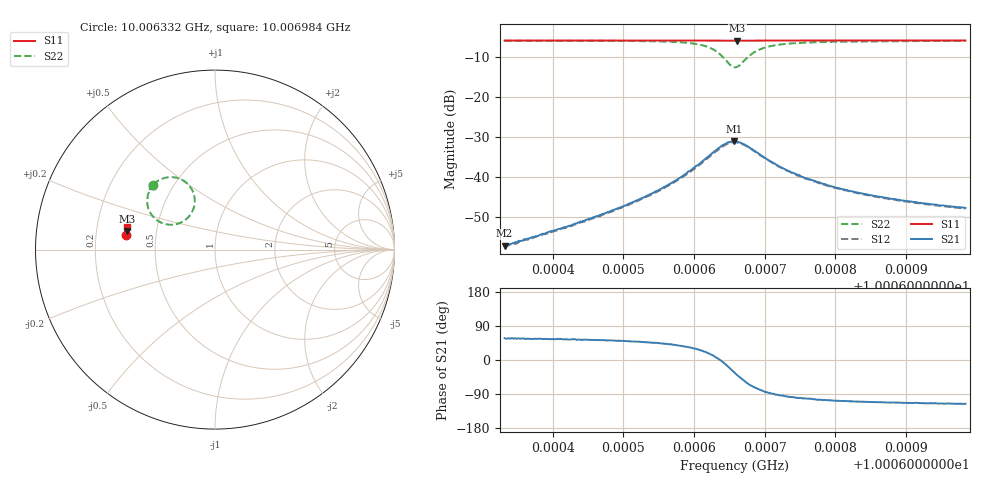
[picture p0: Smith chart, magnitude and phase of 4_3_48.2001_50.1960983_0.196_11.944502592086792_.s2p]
#  HZ  S  RI  R  50.00
! Rohde & Schwarz Vector Network Analyzer
! Rohde-Schwarz,ZNB20-2Port,1311601062101988,3.16
! Created: UTC 3/20/2024, 11:36:10 AM
! freq[Hz]  re:S11  im:S11  re:S21  im:S21  re:S12  im:S12  re:S22  im:S22
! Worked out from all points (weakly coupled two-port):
!   401 points, 10.006332 GHz to 10.006984 GHz, reference 50 ohm
!   highest |S21| = -31.06 dB at 10.006656 GHz (marker M1); lowest = -57.0 dB at 10.006332 GHz (marker M2)
!   lowest |S11| = -6.0 dB at 10.006661 GHz (marker M3), VSWR 3.00, Z = 16.8 + j4.64 ohm
!   |S11| at or under -10 dB: nowhere
!   |S22| runs from -12.6 to -6.0 dB; largest |S21 - S12| = 0.0022
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1.00063322e10  -0.4952 0.0837  0.000757 0.00119  0.000727 0.00118  -0.3447 0.3627
1.00063501e10  -0.4953 0.0849  0.000865 0.00129  0.000752 0.00131  -0.3426 0.3645
1.00064413e10  -0.4942 0.091  0.00168 0.00225  0.00151 0.0023  -0.3289 0.3758
1.00065e10  -0.4936 0.0949  0.00275 0.00336  0.00258 0.00339  -0.3133 0.3861
1.00065505e10  -0.4928 0.0983  0.00498 0.00486  0.00462 0.00496  -0.2871 0.3977
1.00065847e10  -0.4923 0.1007  0.00843 0.0062  0.00784 0.00645  -0.2507 0.404
1.00066173e10  -0.4909 0.103  0.0162 0.00608  0.0154 0.00663  -0.1786 0.386
1.00066303e10  -0.4903 0.1035  0.0212 0.00284  0.0203 0.00404  -0.1379 0.3491
1.00066417e10  -0.4895 0.1039  0.0251 -0.00293  0.0244 -0.00139  -0.1135 0.2858
1.00066515e10  -0.4892 0.1039  0.0253 -0.0108  0.0253 -0.00868  -0.1256 0.2145
1.00066564e10  -0.4893 0.1035  0.0239 -0.0147  0.0241 -0.0126  -0.1472 0.1821
1.0006658e10  -0.4893 0.1036  0.023 -0.0158  0.0235 -0.0138  -0.1567 0.1725
1.00066613e10  -0.4892 0.1034  0.0211 -0.0179  0.0217 -0.0159  -0.1774 0.1572
1.00066743e10  -0.49 0.1037  0.0124 -0.0213  0.0136 -0.02  -0.2668 0.1401
1.00066857e10  -0.4906 0.1044  0.0065 -0.0202  0.00753 -0.0196  -0.3221 0.1628
1.00066987e10  -0.4908 0.1054  0.00232 -0.0176  0.00344 -0.0173  -0.3555 0.1973
1.00067134e10  -0.4911 0.1066  7.13e-05 -0.0149  0.000796 -0.0147  -0.3716 0.2301
1.00067346e10  -0.4908 0.1081  -0.00156 -0.0118  -0.000895 -0.0118  -0.3778 0.2633
1.00067672e10  -0.4907 0.1105  -0.00207 -0.00899  -0.00165 -0.00889  -0.3761 0.2941
1.00068177e10  -0.4902 0.1139  -0.00218 -0.00649  -0.00187 -0.0065  -0.3689 0.3193
1.00068763e10  -0.4893 0.1179  -0.00207 -0.00503  -0.00177 -0.00505  -0.3617 0.3352
1.00069839e10  -0.4879 0.125  -0.00178 -0.00375  -0.00158 -0.00375  -0.3511 0.352
